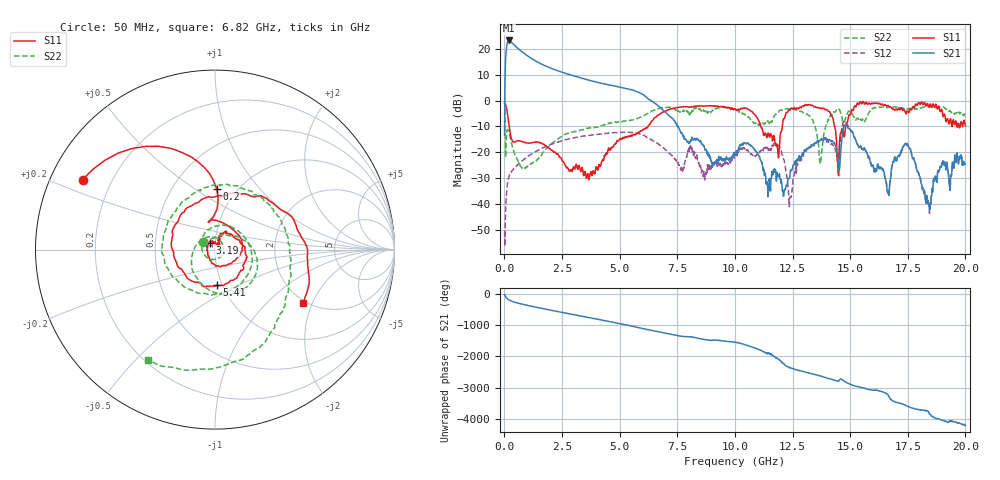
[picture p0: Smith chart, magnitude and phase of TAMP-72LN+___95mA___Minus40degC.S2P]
! Mini-Circuits
! S2P DATA File Format
! Unit Family Type: Amplifier
! MCL Part No: TAMP-72LN+
! Note: All S Parameters are in dB deg format
! The Unit was tested at -40 °C
# MHz S DB R 50
!  FREQ  dB(S11)  PHS(S11)  dB(S21)  PHS(S21)  dB(S12)  PHS(S12)  dB(S22)  PHS(S22)
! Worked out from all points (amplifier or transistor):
!   1601 points, 10 MHz to 20 GHz, reference 50 ohm
!   highest |S21| = 23.3 dB at 190 MHz (marker M1)
!   |S21| within 3 dB of that: 90.14 MHz to 575 MHz (484.9 MHz wide, 146 % of centre)
!   unconditionally stable (mu >= 1): start of sweep to end of sweep
!   at 2.67 GHz: K = 1.09, MAG = 11.0 dB, |S12| = -15.1 dB
!   at 8.01 GHz: K = 9.16, MAG = -11.1 dB, |S12| = -19.1 dB
!   at 20 GHz: K = 94.87, MAG = -23.0 dB, |S12| = -24.1 dB
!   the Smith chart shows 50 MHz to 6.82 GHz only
!   S11 on the Smith chart (normalised r, x): 50 MHz: 0.10, +0.25; 200 MHz: 0.81, +0.62; 3.19 GHz: 0.95, +0.07; 5.41 GHz: 0.94, -0.39; 6.82 GHz: 1.92, -1.72
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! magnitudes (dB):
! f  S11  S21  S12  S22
! 10 MHz  -1.2  -13.4  -50.9  -0.2
! 50 MHz  -1.6  15.3  -43.6  -22.0
! 190 MHz  -8.8  23.3  -29.7  -12.1
! 200 MHz  -9.4  23.3  -29.4  -12.4
! 840 MHz  -16.1  18.4  -22.9  -26.2
! 3.19 GHz  -26.7  9.1  -14.1  -11.7
! 3.35 GHz  -26.4  8.7  -13.9  -11.4
! 5.41 GHz  -14.0  4.4  -12.3  -7.7
! 6.68 GHz  -5.7  -2.0  -16.8  -3.2
! 6.82 GHz  -4.8  -3.2  -17.8  -2.8
! 8.7 GHz  -2.2  -18.8  -29.5  -4.0
! 10.01 GHz  -3.2  -20.9  -21.5  -3.2
! 11.85 GHz  -18.8  -28.9  -17.2  -4.7
! 12.42 GHz  -3.4  -26.8  -37.4  -3.2
! 13.34 GHz  -1.8  -17.2  -17.4  -7.1
! 13.7 GHz  -2.9  -15.2  -15.6  -24.6
! 14.48 GHz  -27.5  -23.3  -22.5  -3.9
! 14.84 GHz  -8.8  -9.8  -8.6  -5.8
! 16.68 GHz  -2.3  -36.8  -36.7  -2.5
! 17.4 GHz  -4.7  -16.7  -16.6  -3.1
! 18.36 GHz  -1.2  -39.0  -39.8  -2.3
! 20 GHz  -9.8  -24.6  -24.1  -6.6
